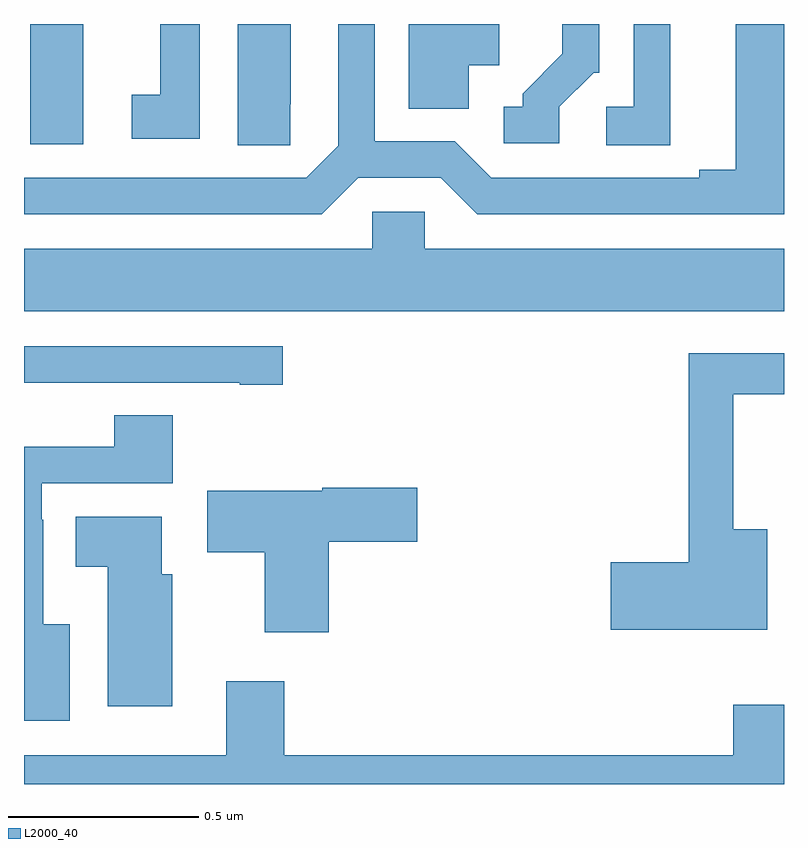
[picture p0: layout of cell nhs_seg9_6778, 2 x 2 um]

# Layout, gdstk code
import gdstk
lib = gdstk.Library(unit=1e-6, precision=1e-09)
def R(c, l, rs):  # rectangles x0, y0, x1, y1
    for r in rs: c.add(gdstk.rectangle(r[:2], r[2:], *l))
def P(c, l, *ps):  # polygons
    for p in ps: c.add(gdstk.Polygon(p, *l))
L2000_40 = (2000, 40)

nhs_seg9_6778 = lib.new_cell('nhs_seg9_6778')
R(nhs_seg9_6778, L2000_40, [(196.016,1206.183,196.156,1206.5)])
P(nhs_seg9_6778, L2000_40, [(196.879,1206.096),(197.097,1206.096),(197.193,1206),(198,1206),(198,1206.5),(197.873,1206.5),(197.873,1206.116),(197.777,1206.116),(197.777,1206.096),(197.229,1206.096),(197.133,1206.192),(196.923,1206.192),(196.923,1206.5),(196.827,1206.5),(196.827,1206.18),(196.743,1206.096),(196,1206.096),(196,1206),(196.783,1206)],
  [(197.17,1206.392),(197.251,1206.392),(197.251,1206.5),(197.012,1206.5),(197.012,1206.277),(197.17,1206.277)],
  [(197.701,1206.5),(197.604,1206.5),(197.604,1206.282),(197.532,1206.282),(197.532,1206.181),(197.701,1206.181)],
  [(196.701,1206.289),(196.702,1206.289),(196.702,1206.5),(196.562,1206.5),(196.562,1206.181),(196.701,1206.181)],
  [(196.462,1206.5),(196.358,1206.5),(196.358,1206.314),(196.284,1206.314),(196.284,1206.198),(196.462,1206.198)],
  [(197.409,1206.282),(197.499,1206.372),(197.514,1206.372),(197.514,1206.5),(197.417,1206.5),(197.417,1206.422),(197.312,1206.317),(197.312,1206.282),(197.262,1206.282),(197.262,1206.186),(197.409,1206.186)],
  [(198,1205.908),(197.055,1205.908),(197.055,1206.006),(196.917,1206.006),(196.917,1205.908),(196,1205.908),(196,1205.744),(198,1205.744)],
  [(196.681,1205.652),(196,1205.652),(196,1205.556),(196.568,1205.556),(196.568,1205.551),(196.681,1205.551)],
  [(197.956,1205.17),(197.867,1205.17),(197.867,1205.526),(198,1205.526),(198,1205.634),(197.749,1205.634),(197.749,1205.084),(197.544,1205.084),(197.544,1204.906),(197.956,1204.906)],
  [(196.12,1204.921),(196.051,1204.921),(196.051,1205.195),(196.047,1205.195),(196.047,1205.292),(196.391,1205.292),(196.391,1205.471),(196.238,1205.471),(196.238,1205.388),(196,1205.388),(196,1204.667),(196.12,1204.667)],
  [(196.802,1205.138),(197.035,1205.138),(197.035,1205.28),(196.785,1205.28),(196.785,1205.272),(196.482,1205.272),(196.482,1205.11),(196.634,1205.11),(196.634,1204.899),(196.802,1204.899)],
  [(196.39,1205.052),(196.363,1205.052),(196.363,1205.203),(196.136,1205.203),(196.136,1205.072),(196.22,1205.072),(196.22,1204.704),(196.39,1204.704)],
  [(198,1204.708),(197.867,1204.708),(197.867,1204.576),(196.685,1204.576),(196.685,1204.771),(196.532,1204.771),(196.532,1204.576),(196,1204.576),(196,1204.5),(198,1204.5)])

lib.write_gds('nhs_seg9_6778.gds')
